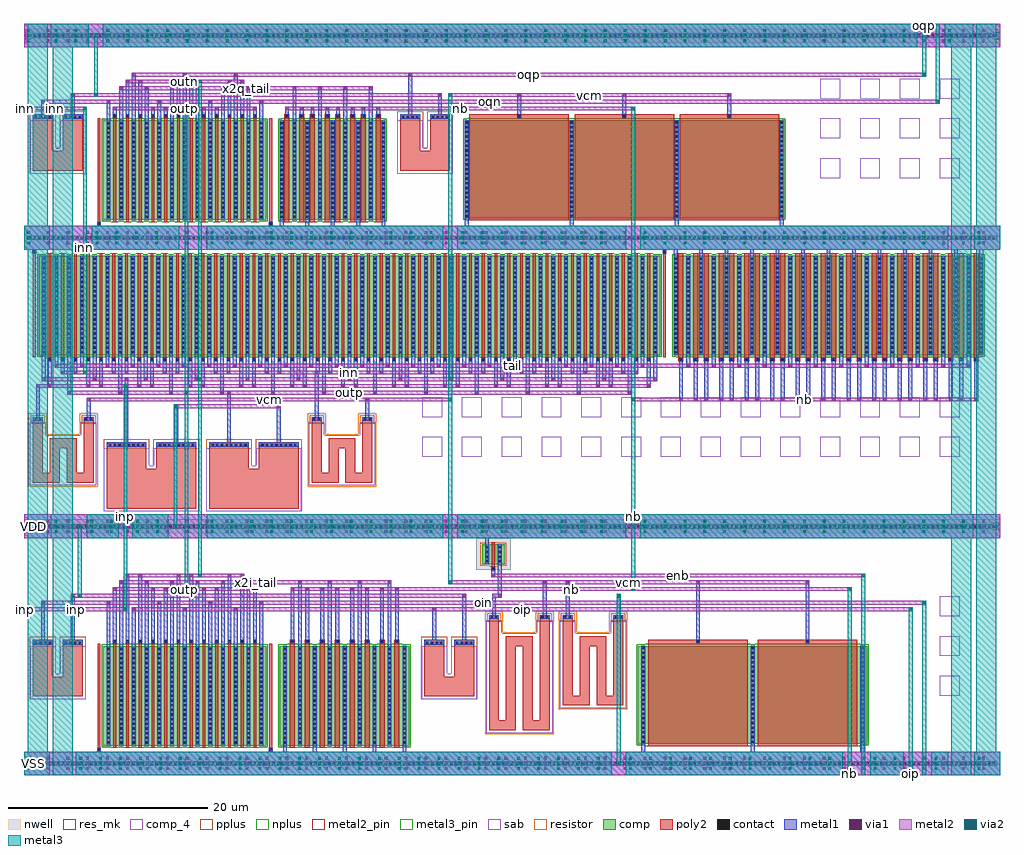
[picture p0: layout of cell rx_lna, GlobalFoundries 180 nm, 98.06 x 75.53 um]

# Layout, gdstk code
import gdstk
lib = gdstk.Library(unit=1e-6, precision=1e-09)
def R(c, l, rs):  # rectangles x0, y0, x1, y1
    for r in rs: c.add(gdstk.rectangle(r[:2], r[2:], *l))
def A(c, l, x, y, w, h, nx, ny, dx, dy):  # array of equal rectangles
    R(c, l, [(x+i*dx, y+j*dy, x+i*dx+w, y+j*dy+h) for i in range(nx) for j in range(ny)])
nwell = (21, 0)
comp = (22, 0)
comp_4 = (22, 4)
poly2 = (30, 0)
pplus = (31, 0)
nplus = (32, 0)
contact = (33, 0)
metal1 = (34, 0)
via1 = (35, 0)
metal2 = (36, 0)
metal2_pin = (36, 10)
via2 = (38, 0)
metal3 = (42, 0)
metal3_pin = (42, 10)
sab = (49, 0)
resistor = (62, 0)
res_mk = (110, 5)

rx_lna = lib.new_cell('rx_lna')
R(rx_lna, nwell, [(45.42,18.285,48.9,21.915), (0.15,21.915,97.91,23.315), (0.15,71.235,97.91,72.635)])
R(rx_lna, comp, [(0.3,-1.39,97.76,-1.01), (7.98,0.6,24.34,10.6), (25.72,0.6,38.72,10.6), (61.72,0.77,84.72,10.6), (46.02,18.815,48.3,20.815), (0.3,22.425,97.76,22.805), (1.48,39.82,63.92,49.82), (65.3,39.82,96.36,49.82), (0.3,51.43,97.76,51.81), (7.98,53.42,24.34,63.42), (25.72,53.42,36.3,63.42), (44.3,53.59,76.32,63.42), (0.3,71.745,97.76,72.125)])
A(rx_lna, comp_4, 92, 5.6, 2, 2, 1, 3, 0, 4)
A(rx_lna, comp_4, 40, 29.6, 2, 2, 14, 2, 4, 4)
A(rx_lna, comp_4, 80, 57.6, 2, 2, 4, 3, 4, 4)
A(rx_lna, poly2, 8.98, 0.37, 0.28, 10.49, 12, 2, 1.28, 52.82)
A(rx_lna, poly2, 26.72, 0.37, 0.5, 10.86, 8, 1, 1.5, 0)
A(rx_lna, poly2, 8.935, 10.86, 0.37, 0.37, 12, 2, 1.28, 52.82)
A(rx_lna, poly2, 2.435, 39.19, 0.37, 0.37, 48, 1, 1.28, 0)
A(rx_lna, poly2, 2.48, 39.56, 0.28, 10.49, 48, 1, 1.28, 0)
A(rx_lna, poly2, 44.75, 53.36, 10, 10.69, 3, 1, 10.56, 0)
R(rx_lna, poly2, [(7.355,0.03,7.725,0.4), (24.595,0.03,24.965,0.4), (7.4,0.4,7.68,10.83), (24.64,0.4,24.92,10.83), (62.72,0.54,72.72,11.23), (73.72,0.54,83.72,11.23), (46.72,2.125,49.42,3.125), (50.12,2.125,52.82,3.125), (46.72,3.125,47.72,13.71), (48.42,3.125,49.42,10.6), (50.12,3.125,51.12,10.6), (51.82,3.125,52.82,13.71), (54.12,4.625,56.82,5.625), (57.52,4.625,60.22,5.625), (0.9,5.53,5.9,7.53), (40.22,5.53,45.22,7.53), (54.12,5.625,55.12,13.71), (55.82,5.625,56.82,10.6), (57.52,5.625,58.52,10.6), (59.22,5.625,60.22,13.71), (0.9,7.53,2.9,11.21), (3.9,7.53,5.9,11.21), (40.22,7.53,42.22,11.21), (43.22,7.53,45.22,11.21), (48.42,10.6,51.12,11.6), (55.82,10.6,58.52,11.6), (46.975,18.185,47.345,18.555), (47.02,18.555,47.3,21.045), (8.3,24.415,17.3,28.415), (18.6,24.415,27.6,28.415), (0.9,27.01,3.6,28.01), (4.3,27.01,7,28.01), (28.9,27.01,31.6,28.01), (32.3,27.01,35,28.01), (0.9,28.01,1.9,33.595), (2.6,28.01,3.6,30.485), (4.3,28.01,5.3,30.485), (6,28.01,7,33.595), (28.9,28.01,29.9,33.595), (30.6,28.01,31.6,30.485), (32.3,28.01,33.3,30.485), (34,28.01,35,33.595), (8.3,28.415,12.3,31.095), (13.3,28.415,17.3,31.095), (18.6,28.415,22.6,31.095), (23.6,28.415,27.6,31.095), (2.6,30.485,5.3,31.485), (30.6,30.485,33.3,31.485), (65.75,39.19,66.25,50.05), (67.25,39.19,67.75,50.05), (68.31,39.19,68.81,50.05), (69.81,39.19,70.31,50.05), (70.87,39.19,71.37,50.05), (72.37,39.19,72.87,50.05), (73.43,39.19,73.93,50.05), (74.93,39.19,75.43,50.05), (75.99,39.19,76.49,50.05), (77.49,39.19,77.99,50.05), (78.55,39.19,79.05,50.05), (80.05,39.19,80.55,50.05), (81.11,39.19,81.61,50.05), (82.61,39.19,83.11,50.05), (83.67,39.19,84.17,50.05), (85.17,39.19,85.67,50.05), (86.23,39.19,86.73,50.05), (87.73,39.19,88.23,50.05), (88.79,39.19,89.29,50.05), (90.29,39.19,90.79,50.05), (91.35,39.19,91.85,50.05), (92.85,39.19,93.35,50.05), (93.91,39.19,94.41,50.05), (95.41,39.19,95.91,50.05), (0.9,39.59,1.18,50.02), (64.22,39.59,64.5,50.02), (0.855,50.02,1.225,50.39), (64.175,50.02,64.545,50.39), (7.355,52.85,7.725,53.22), (24.595,52.85,24.965,53.22), (26.17,53.19,26.67,64.05), (27.67,53.19,28.17,64.05), (28.73,53.19,29.23,64.05), (30.23,53.19,30.73,64.05), (31.29,53.19,31.79,64.05), (32.79,53.19,33.29,64.05), (33.85,53.19,34.35,64.05), (35.35,53.19,35.85,64.05), (7.4,53.22,7.68,63.65), (24.64,53.22,24.92,63.65), (0.9,58.35,5.9,60.35), (37.8,58.35,42.8,60.35), (0.9,60.35,2.9,64.03), (3.9,60.35,5.9,64.03), (37.8,60.35,39.8,64.03), (40.8,60.35,42.8,64.03)])
R(rx_lna, pplus, [(0.28,-1.41,97.78,-0.99), (0.6,5.23,6.2,7.83), (39.92,5.23,45.52,7.83), (0.6,7.83,3.2,11.51), (3.6,7.83,6.2,11.51), (39.92,7.83,42.52,11.51), (42.92,7.83,45.52,11.51), (46.52,13.1,47.92,13.91), (51.62,13.1,53.02,13.91), (53.92,13.1,55.32,13.91), (59.02,13.1,60.42,13.91), (46.79,18.585,47.53,18.655), (45.86,18.655,48.46,20.975), (46.79,20.975,47.53,21.045), (8,24.115,17.6,28.715), (18.3,24.115,27.9,28.715), (8,28.715,12.6,31.395), (13,28.715,17.6,31.395), (18.3,28.715,22.9,31.395), (23.3,28.715,27.9,31.395), (0.7,32.985,2.1,33.795), (5.8,32.985,7.2,33.795), (28.7,32.985,30.1,33.795), (33.8,32.985,35.2,33.795), (0.28,51.41,97.78,51.83), (0.6,58.05,6.2,60.65), (37.5,58.05,43.1,60.65), (0.6,60.65,3.2,64.33), (3.6,60.65,6.2,64.33), (37.5,60.65,40.1,64.33), (40.5,60.65,43.1,64.33)])
A(rx_lna, nplus, 8.75, 0.37, 0.74, 0.07, 12, 2, 1.28, 10.39)
A(rx_lna, nplus, 26.49, 0.37, 0.96, 0.07, 8, 2, 1.5, 10.39)
A(rx_lna, nplus, 2.25, 39.59, 0.74, 0.07, 48, 2, 1.28, 10.39)
A(rx_lna, nplus, 67.02, 39.59, 2.02, 0.07, 11, 2, 2.56, 10.39)
A(rx_lna, nplus, 8.75, 53.19, 0.74, 0.07, 12, 2, 1.28, 10.39)
A(rx_lna, nplus, 27.44, 53.19, 2.02, 0.07, 3, 2, 2.56, 10.39)
R(rx_lna, nplus, [(7.82,0.44,24.5,10.76), (25.56,0.44,38.88,10.76), (62.49,0.54,72.95,0.61), (73.49,0.54,83.95,0.61), (61.56,0.61,84.88,10.76), (62.49,10.76,72.95,10.83), (73.49,10.76,83.95,10.83), (0.14,22.265,0.74,22.405), (97.32,22.265,97.92,22.405), (0.14,22.405,97.92,22.825), (0.14,22.825,0.74,22.965), (97.32,22.825,97.92,22.965), (65.52,39.59,66.48,39.66), (95.18,39.59,96.14,39.66), (1.32,39.66,64.08,49.98), (65.14,39.66,96.52,49.98), (65.52,49.98,66.48,50.05), (95.18,49.98,96.14,50.05), (25.94,53.19,26.9,53.26), (35.12,53.19,36.08,53.26), (7.82,53.26,24.5,63.58), (25.56,53.26,36.46,63.58), (44.52,53.36,76.1,53.43), (44.14,53.43,76.48,63.58), (25.94,63.58,26.9,63.65), (35.12,63.58,36.08,63.65), (44.52,63.58,76.1,63.65), (0.14,71.585,0.74,71.725), (97.32,71.585,97.92,71.725), (0.14,71.725,97.92,72.145), (0.14,72.145,0.74,72.285), (97.32,72.145,97.92,72.285)])
A(rx_lna, contact, 0.51, -1.31, 0.22, 0.22, 207, 2, 0.47, 23.815)
A(rx_lna, contact, 8.37, 0.79, 0.22, 0.22, 13, 21, 1.28, 0.47)
A(rx_lna, contact, 26.11, 0.79, 0.22, 0.22, 9, 21, 1.5, 0.47)
A(rx_lna, contact, 62.11, 0.875, 0.22, 0.22, 3, 21, 11, 0.47)
A(rx_lna, contact, 1.085, 10.82, 0.22, 0.22, 4, 2, 0.47, 52.82)
A(rx_lna, contact, 4.085, 10.82, 0.22, 0.22, 4, 2, 0.47, 52.82)
A(rx_lna, contact, 40.405, 10.82, 0.22, 0.22, 4, 1, 0.47, 0)
A(rx_lna, contact, 43.405, 10.82, 0.22, 0.22, 4, 1, 0.47, 0)
A(rx_lna, contact, 9.01, 10.935, 0.22, 0.22, 12, 2, 1.28, 52.82)
A(rx_lna, contact, 26.86, 10.935, 0.22, 0.22, 8, 1, 1.5, 0)
A(rx_lna, contact, 46.41, 19, 0.22, 0.22, 1, 4, 0, 0.47)
A(rx_lna, contact, 47.69, 19, 0.22, 0.22, 1, 4, 0, 0.47)
A(rx_lna, contact, 8.545, 30.705, 0.22, 0.22, 8, 1, 0.47, 0)
A(rx_lna, contact, 13.545, 30.705, 0.22, 0.22, 8, 1, 0.47, 0)
A(rx_lna, contact, 18.845, 30.705, 0.22, 0.22, 8, 1, 0.47, 0)
A(rx_lna, contact, 23.845, 30.705, 0.22, 0.22, 8, 1, 0.47, 0)
A(rx_lna, contact, 2.51, 39.265, 0.22, 0.22, 48, 1, 1.28, 0)
A(rx_lna, contact, 1.87, 40.01, 0.22, 0.22, 49, 21, 1.28, 0.47)
A(rx_lna, contact, 65.375, 40.01, 0.22, 0.22, 1, 21, 0, 0.47)
A(rx_lna, contact, 66.64, 40.01, 0.22, 0.22, 23, 21, 1.28, 0.47)
A(rx_lna, contact, 96.065, 40.01, 0.22, 0.22, 1, 21, 0, 0.47)
A(rx_lna, contact, 0.51, 51.51, 0.22, 0.22, 207, 2, 0.47, 20.315)
A(rx_lna, contact, 8.37, 53.61, 0.22, 0.22, 13, 21, 1.28, 0.47)
A(rx_lna, contact, 25.795, 53.61, 0.22, 0.22, 1, 21, 0, 0.47)
A(rx_lna, contact, 27.06, 53.61, 0.22, 0.22, 7, 21, 1.28, 0.47)
A(rx_lna, contact, 36.005, 53.61, 0.22, 0.22, 1, 21, 0, 0.47)
A(rx_lna, contact, 44.375, 53.695, 0.22, 0.22, 1, 21, 0, 0.47)
A(rx_lna, contact, 54.92, 53.695, 0.22, 0.22, 1, 21, 0, 0.47)
A(rx_lna, contact, 65.48, 53.695, 0.22, 0.22, 1, 21, 0, 0.47)
A(rx_lna, contact, 76.025, 53.695, 0.22, 0.22, 1, 21, 0, 0.47)
A(rx_lna, contact, 37.985, 63.64, 0.22, 0.22, 4, 1, 0.47, 0)
A(rx_lna, contact, 40.985, 63.64, 0.22, 0.22, 4, 1, 0.47, 0)
A(rx_lna, contact, 49.64, 63.755, 0.22, 0.22, 3, 1, 10.56, 0)
R(rx_lna, contact, [(7.43,0.105,7.65,0.325), (24.67,0.105,24.89,0.325), (67.61,10.935,67.83,11.155), (78.61,10.935,78.83,11.155), (46.875,13.42,47.095,13.64), (47.345,13.42,47.565,13.64), (51.975,13.42,52.195,13.64), (52.445,13.42,52.665,13.64), (54.275,13.42,54.495,13.64), (54.745,13.42,54.965,13.64), (59.375,13.42,59.595,13.64), (59.845,13.42,60.065,13.64), (47.05,18.26,47.27,18.48), (1.055,33.305,1.275,33.525), (1.525,33.305,1.745,33.525), (6.155,33.305,6.375,33.525), (6.625,33.305,6.845,33.525), (29.055,33.305,29.275,33.525), (29.525,33.305,29.745,33.525), (34.155,33.305,34.375,33.525), (34.625,33.305,34.845,33.525), (65.89,39.265,66.11,39.485), (67.39,39.265,67.61,39.485), (68.45,39.265,68.67,39.485), (69.95,39.265,70.17,39.485), (71.01,39.265,71.23,39.485), (72.51,39.265,72.73,39.485), (73.57,39.265,73.79,39.485), (75.07,39.265,75.29,39.485), (76.13,39.265,76.35,39.485), (77.63,39.265,77.85,39.485), (78.69,39.265,78.91,39.485), (80.19,39.265,80.41,39.485), (81.25,39.265,81.47,39.485), (82.75,39.265,82.97,39.485), (83.81,39.265,84.03,39.485), (85.31,39.265,85.53,39.485), (86.37,39.265,86.59,39.485), (87.87,39.265,88.09,39.485), (88.93,39.265,89.15,39.485), (90.43,39.265,90.65,39.485), (91.49,39.265,91.71,39.485), (92.99,39.265,93.21,39.485), (94.05,39.265,94.27,39.485), (95.55,39.265,95.77,39.485), (0.93,50.095,1.15,50.315), (64.25,50.095,64.47,50.315), (7.43,52.925,7.65,53.145), (24.67,52.925,24.89,53.145), (26.31,63.755,26.53,63.975), (27.81,63.755,28.03,63.975), (28.87,63.755,29.09,63.975), (30.37,63.755,30.59,63.975), (31.43,63.755,31.65,63.975), (32.93,63.755,33.15,63.975), (33.99,63.755,34.21,63.975), (35.49,63.755,35.71,63.975)])
A(rx_lna, metal1, 26.03, 0, 0.38, 10.605, 5, 1, 3, 0)
A(rx_lna, metal1, 62.03, 0, 0.38, 10.605, 3, 1, 11, 0)
A(rx_lna, metal1, 8.29, 0.595, 0.38, 14.555, 4, 1, 5.12, 0)
A(rx_lna, metal1, 9.57, 0.595, 0.38, 16.595, 6, 1, 2.56, 0)
A(rx_lna, metal1, 10.85, 0.595, 0.38, 13.875, 3, 1, 5.12, 0)
A(rx_lna, metal1, 27.53, 0.595, 0.38, 16.595, 4, 1, 3, 0)
A(rx_lna, metal1, 26.78, 10.855, 0.38, 5.655, 8, 1, 1.5, 0)
A(rx_lna, metal1, 4.35, 35.85, 0.38, 13.975, 12, 1, 5.12, 0)
A(rx_lna, metal1, 1.79, 37.21, 0.38, 12.615, 13, 1, 5.12, 0)
A(rx_lna, metal1, 3.07, 38.57, 0.38, 11.255, 24, 1, 2.56, 0)
A(rx_lna, metal1, 66.56, 38.57, 0.38, 11.255, 12, 1, 2.56, 0)
A(rx_lna, metal1, 67.84, 39.815, 0.38, 10.605, 11, 1, 2.56, 0)
A(rx_lna, metal1, 28.26, 52.82, 0.38, 10.605, 3, 1, 2.56, 0)
A(rx_lna, metal1, 8.29, 53.415, 0.38, 12.055, 4, 1, 5.12, 0)
A(rx_lna, metal1, 9.57, 53.415, 0.38, 13.415, 6, 1, 2.56, 0)
A(rx_lna, metal1, 10.85, 53.415, 0.38, 14.775, 3, 1, 5.12, 0)
A(rx_lna, metal1, 26.98, 53.415, 0.38, 13.415, 4, 1, 2.56, 0)
A(rx_lna, metal1, 49.56, 63.675, 0.38, 2.475, 3, 1, 10.56, 0)
R(rx_lna, metal1, [(0,-2.4,98.06,0), (7.35,0,7.73,0.4), (24.59,0,24.97,0.4), (0.9,10.75,2.9,11.21), (3.9,10.75,5.9,11.21), (40.22,10.75,42.22,11.21), (43.22,10.75,45.22,11.21), (8.93,10.855,9.31,16.51), (10.21,10.855,10.59,17.87), (11.49,10.855,11.87,17.87), (12.77,10.855,13.15,16.51), (14.05,10.855,14.43,16.51), (15.33,10.855,15.71,17.87), (16.61,10.855,16.99,17.87), (17.89,10.855,18.27,16.51), (19.17,10.855,19.55,16.51), (20.45,10.855,20.83,17.87), (21.73,10.855,22.11,17.87), (23.01,10.855,23.39,16.51), (67.53,10.855,67.91,17.19), (78.53,10.855,78.91,17.19), (1.71,11.21,2.09,15.15), (4.71,11.21,5.09,15.83), (41.03,11.21,41.41,14.47), (44.03,11.21,44.41,15.83), (46.72,13.35,47.72,13.71), (51.82,13.35,52.82,13.71), (54.12,13.35,55.12,13.71), (59.22,13.35,60.22,13.71), (47.03,13.71,47.41,15.45), (52.13,13.71,52.51,17.19), (54.43,13.71,54.81,17.19), (59.53,13.71,59.91,15.83), (47.03,15.45,47.99,15.83), (47.61,15.83,47.99,20.82), (46.97,17.49,47.35,18.56), (46.33,18.81,46.71,21.415), (0,21.415,98.06,23.815), (8.3,30.635,12.3,31.095), (13.3,30.635,17.3,31.095), (18.6,30.635,22.6,31.095), (23.6,30.635,27.6,31.095), (10.11,31.095,10.49,37.59), (15.11,31.095,15.49,34.87), (20.41,31.095,20.79,36.23), (25.41,31.095,25.79,34.87), (0.9,33.235,1.9,33.595), (6,33.235,7,33.595), (28.9,33.235,29.9,33.595), (34,33.235,35,33.595), (1.21,33.595,1.59,36.91), (6.31,33.595,6.69,35.55), (29.21,33.595,29.59,37.89), (34.31,33.595,34.69,35.55), (65.81,35.17,66.19,39.565), (67.31,35.17,67.69,39.565), (68.37,35.17,68.75,39.565), (69.87,35.17,70.25,39.565), (70.93,35.17,71.31,39.565), (72.43,35.17,72.81,39.565), (73.49,35.17,73.87,39.565), (74.99,35.17,75.37,39.565), (76.05,35.17,76.43,39.565), (77.55,35.17,77.93,39.565), (78.61,35.17,78.99,39.565), (80.11,35.17,80.49,39.565), (81.17,35.17,81.55,39.565), (82.67,35.17,83.05,39.565), (83.73,35.17,84.11,39.565), (85.23,35.17,85.61,39.565), (86.29,35.17,86.67,39.565), (87.79,35.17,88.17,39.565), (88.85,35.17,89.23,39.565), (90.35,35.17,90.73,39.565), (91.41,35.17,91.79,39.565), (92.91,35.17,93.29,39.565), (93.97,35.17,94.35,39.565), (95.47,35.17,95.85,39.565), (2.43,36.53,2.81,39.565), (6.27,36.53,6.65,39.565), (7.55,36.53,7.93,39.565), (11.39,36.53,11.77,39.565), (12.67,36.53,13.05,39.565), (16.51,36.53,16.89,39.565), (17.79,36.53,18.17,39.565), (21.63,36.53,22.01,39.565), (22.91,36.53,23.29,39.565), (26.75,36.53,27.13,39.565), (28.03,36.53,28.41,39.565), (31.87,36.53,32.25,39.565), (33.15,36.53,33.53,39.565), (36.99,36.53,37.37,39.565), (38.27,36.53,38.65,39.565), (42.11,36.53,42.49,39.565), (43.39,36.53,43.77,39.565), (47.23,36.53,47.61,39.565), (48.51,36.53,48.89,39.565), (52.35,36.53,52.73,39.565), (53.63,36.53,54.01,39.565), (57.47,36.53,57.85,39.565), (58.75,36.53,59.13,39.565), (62.59,36.53,62.97,39.565), (3.71,37.89,4.09,39.565), (4.99,37.89,5.37,39.565), (8.83,37.89,9.21,39.565), (10.11,37.89,10.49,39.565), (13.95,37.89,14.33,39.565), (15.23,37.89,15.61,39.565), (19.07,37.89,19.45,39.565), (20.35,37.89,20.73,39.565), (24.19,37.89,24.57,39.565), (25.47,37.89,25.85,39.565), (29.21,37.89,29.69,38.27), (30.59,37.89,30.97,39.565), (34.43,37.89,34.81,39.565), (35.71,37.89,36.09,39.565), (39.55,37.89,39.93,39.565), (40.83,37.89,41.21,39.565), (44.67,37.89,45.05,39.565), (45.95,37.89,46.33,39.565), (49.79,37.89,50.17,39.565), (51.07,37.89,51.45,39.565), (54.91,37.89,55.29,39.565), (56.19,37.89,56.57,39.565), (60.03,37.89,60.41,39.565), (61.31,37.89,61.69,39.565), (29.31,38.27,29.69,39.565), (65.295,39.815,65.675,50.42), (95.985,39.815,96.365,50.42), (0.85,50.02,1.23,50.42), (64.17,50.02,64.55,50.42), (0,50.42,98.06,52.82), (7.35,52.82,7.73,53.22), (24.59,52.82,24.97,53.22), (25.715,52.82,26.095,63.425), (35.925,52.82,36.305,63.425), (44.295,52.82,44.675,63.425), (54.84,52.82,55.22,63.425), (65.4,52.82,65.78,63.425), (75.945,52.82,76.325,63.425), (0.9,63.57,2.9,64.03), (3.9,63.57,5.9,64.03), (37.8,63.57,39.8,64.03), (40.8,63.57,42.8,64.03), (8.93,63.675,9.31,64.79), (10.21,63.675,10.59,67.51), (11.49,63.675,11.87,67.51), (12.77,63.675,13.15,64.79), (14.05,63.675,14.43,64.79), (15.33,63.675,15.71,67.51), (16.61,63.675,16.99,67.51), (17.89,63.675,18.27,64.79), (19.17,63.675,19.55,64.79), (20.45,63.675,20.83,67.51), (21.73,63.675,22.11,67.51), (23.01,63.675,23.39,64.79), (26.23,63.675,26.61,64.79), (27.73,63.675,28.11,64.79), (28.79,63.675,29.17,64.79), (30.29,63.675,30.67,64.79), (31.35,63.675,31.73,64.79), (32.85,63.675,33.23,64.79), (33.91,63.675,34.29,64.79), (35.41,63.675,35.79,64.79), (1.71,64.03,2.09,65.47), (4.71,64.03,5.09,66.15), (38.61,64.03,38.99,68.19), (41.61,64.03,41.99,66.15), (0,70.735,98.06,73.135)])
A(rx_lna, via1, 0.27, -1.85, 0.26, 0.26, 49, 3, 2, 0.52)
A(rx_lna, via1, 10.91, 14.15, 0.26, 0.26, 3, 2, 5.12, 53.72)
A(rx_lna, via1, 8.35, 14.83, 0.26, 0.26, 4, 2, 5.12, 50.32)
A(rx_lna, via1, 26.84, 16.19, 0.26, 0.26, 8, 1, 1.5, 0)
A(rx_lna, via1, 9.63, 16.87, 0.26, 0.26, 6, 2, 2.56, 49.64)
A(rx_lna, via1, 27.59, 16.87, 0.26, 0.26, 4, 1, 3, 0)
A(rx_lna, via1, 0.27, 21.965, 0.26, 0.26, 49, 3, 2, 0.52)
A(rx_lna, via1, 4.41, 35.91, 0.26, 0.26, 4, 1, 5.12, 0)
A(rx_lna, via1, 24.89, 35.91, 0.26, 0.26, 8, 1, 5.12, 0)
A(rx_lna, via1, 12.09, 37.27, 0.26, 0.26, 11, 1, 5.12, 0)
A(rx_lna, via1, 3.13, 38.63, 0.26, 0.26, 24, 1, 2.56, 0)
A(rx_lna, via1, 66.62, 38.63, 0.26, 0.26, 12, 1, 2.56, 0)
A(rx_lna, via1, 0.27, 50.97, 0.26, 0.26, 49, 3, 2, 0.52)
A(rx_lna, via1, 49.62, 65.83, 0.26, 0.26, 3, 1, 10.56, 0)
A(rx_lna, via1, 27.04, 66.51, 0.26, 0.26, 4, 1, 2.56, 0)
A(rx_lna, via1, 0.27, 71.285, 0.26, 0.26, 49, 3, 2, 0.52)
R(rx_lna, via1, [(41.09,14.15,41.35,14.41), (1.77,14.83,2.03,15.09), (4.77,15.51,5.03,15.77), (44.09,15.51,44.35,15.77), (47.67,15.51,47.93,15.77), (59.59,15.51,59.85,15.77), (8.99,16.19,9.25,16.45), (12.83,16.19,13.09,16.45), (14.11,16.19,14.37,16.45), (17.95,16.19,18.21,16.45), (19.23,16.19,19.49,16.45), (23.07,16.19,23.33,16.45), (52.19,16.87,52.45,17.13), (54.49,16.87,54.75,17.13), (67.59,16.87,67.85,17.13), (78.59,16.87,78.85,17.13), (10.27,17.55,10.53,17.81), (11.55,17.55,11.81,17.81), (15.39,17.55,15.65,17.81), (16.67,17.55,16.93,17.81), (20.51,17.55,20.77,17.81), (21.79,17.55,22.05,17.81), (47.03,17.55,47.29,17.81), (15.17,34.55,15.43,34.81), (25.47,34.55,25.73,34.81), (6.37,35.23,6.63,35.49), (34.37,35.23,34.63,35.49), (65.87,35.23,66.13,35.49), (67.37,35.23,67.63,35.49), (68.43,35.23,68.69,35.49), (69.93,35.23,70.19,35.49), (70.99,35.23,71.25,35.49), (72.49,35.23,72.75,35.49), (73.55,35.23,73.81,35.49), (75.05,35.23,75.31,35.49), (76.11,35.23,76.37,35.49), (77.61,35.23,77.87,35.49), (78.67,35.23,78.93,35.49), (80.17,35.23,80.43,35.49), (81.23,35.23,81.49,35.49), (82.73,35.23,82.99,35.49), (83.79,35.23,84.05,35.49), (85.29,35.23,85.55,35.49), (86.35,35.23,86.61,35.49), (87.85,35.23,88.11,35.49), (88.91,35.23,89.17,35.49), (90.41,35.23,90.67,35.49), (91.47,35.23,91.73,35.49), (92.97,35.23,93.23,35.49), (94.03,35.23,94.29,35.49), (95.53,35.23,95.79,35.49), (20.47,35.91,20.73,36.17), (1.27,36.59,1.53,36.85), (2.49,36.59,2.75,36.85), (6.33,36.59,6.59,36.85), (7.61,36.59,7.87,36.85), (11.45,36.59,11.71,36.85), (12.73,36.59,12.99,36.85), (16.57,36.59,16.83,36.85), (17.85,36.59,18.11,36.85), (21.69,36.59,21.95,36.85), (22.97,36.59,23.23,36.85), (26.81,36.59,27.07,36.85), (28.09,36.59,28.35,36.85), (31.93,36.59,32.19,36.85), (33.21,36.59,33.47,36.85), (37.05,36.59,37.31,36.85), (38.33,36.59,38.59,36.85), (42.17,36.59,42.43,36.85), (43.45,36.59,43.71,36.85), (47.29,36.59,47.55,36.85), (48.57,36.59,48.83,36.85), (52.41,36.59,52.67,36.85), (53.69,36.59,53.95,36.85), (57.53,36.59,57.79,36.85), (58.81,36.59,59.07,36.85), (62.65,36.59,62.91,36.85), (1.85,37.27,2.11,37.53), (6.97,37.27,7.23,37.53), (10.17,37.27,10.43,37.53), (3.77,37.95,4.03,38.21), (5.05,37.95,5.31,38.21), (8.89,37.95,9.15,38.21), (10.17,37.95,10.43,38.21), (14.01,37.95,14.27,38.21), (15.29,37.95,15.55,38.21), (19.13,37.95,19.39,38.21), (20.41,37.95,20.67,38.21), (24.25,37.95,24.51,38.21), (25.53,37.95,25.79,38.21), (29.27,37.95,29.53,38.21), (30.65,37.95,30.91,38.21), (34.49,37.95,34.75,38.21), (35.77,37.95,36.03,38.21), (39.61,37.95,39.87,38.21), (40.89,37.95,41.15,38.21), (44.73,37.95,44.99,38.21), (46.01,37.95,46.27,38.21), (49.85,37.95,50.11,38.21), (51.13,37.95,51.39,38.21), (54.97,37.95,55.23,38.21), (56.25,37.95,56.51,38.21), (60.09,37.95,60.35,38.21), (61.37,37.95,61.63,38.21), (8.99,64.47,9.25,64.73), (12.83,64.47,13.09,64.73), (14.11,64.47,14.37,64.73), (17.95,64.47,18.21,64.73), (19.23,64.47,19.49,64.73), (23.07,64.47,23.33,64.73), (26.29,64.47,26.55,64.73), (27.79,64.47,28.05,64.73), (28.85,64.47,29.11,64.73), (30.35,64.47,30.61,64.73), (31.41,64.47,31.67,64.73), (32.91,64.47,33.17,64.73), (33.97,64.47,34.23,64.73), (35.47,64.47,35.73,64.73), (1.77,65.15,2.03,65.41), (4.77,65.83,5.03,66.09), (41.67,65.83,41.93,66.09), (10.27,67.19,10.53,67.45), (11.55,67.19,11.81,67.45), (15.39,67.19,15.65,67.45), (16.67,67.19,16.93,67.45), (20.51,67.19,20.77,67.45), (21.79,67.19,22.05,67.45), (38.67,67.87,38.93,68.13)])
R(rx_lna, metal2, [(0,-2.4,98.06,0), (0,14.09,10.39,14.47), (10.85,14.09,89.27,14.47), (1.71,14.77,90.63,15.15), (4.71,15.45,44.41,15.83), (47.03,15.45,47.99,15.83), (59.53,15.45,59.945,15.83), (8.93,16.13,23.39,16.51), (26.78,16.13,83.15,16.51), (9.57,16.81,36.91,17.19), (42.65,16.81,78.91,17.19), (10.21,17.49,22.11,17.87), (46.97,17.49,84.51,17.87), (0,21.415,98.06,23.815), (15.025,34.49,25.79,34.87), (6.31,35.17,43.03,35.55), (61.01,35.17,95.85,35.55), (4.35,35.85,61.05,36.23), (1.21,36.53,62.97,36.91), (1.79,37.21,63.61,37.59), (3.71,37.89,61.69,38.27), (3.07,38.57,95.1,38.95), (0,50.42,98.06,52.82), (0,64.41,6.31,64.79), (8.93,64.41,23.39,64.79), (26.23,64.41,61.39,64.79), (1.71,65.09,91.99,65.47), (4.71,65.77,41.99,66.15), (42.65,65.77,71.06,66.15), (9.57,66.45,35.04,66.83), (10.21,67.13,22.11,67.51), (10.85,67.81,90.63,68.19), (0,70.735,98.06,73.135)])
R(rx_lna, metal2_pin, [(0.95,-1.25,1.05,-1.15), (0.1,14.23,0.2,14.33), (0.95,22.565,1.05,22.665), (0.1,64.55,0.2,64.65)])
A(rx_lna, via2, 0.37, -1.85, 0.26, 0.26, 1, 3, 0, 0.52)
A(rx_lna, via2, 5.57, -1.85, 0.26, 0.26, 27, 3, 2, 0.52)
A(rx_lna, via2, 60.825, -1.85, 0.26, 0.26, 11, 3, 2, 0.52)
A(rx_lna, via2, 85.39, -1.85, 0.26, 0.26, 1, 3, 0, 0.52)
A(rx_lna, via2, 87.39, -1.85, 0.26, 0.26, 1, 3, 0, 0.52)
A(rx_lna, via2, 91.51, -1.85, 0.26, 0.26, 1, 3, 0, 0.52)
A(rx_lna, via2, 95.83, -1.85, 0.26, 0.26, 1, 3, 0, 0.52)
A(rx_lna, via2, 3.07, 21.965, 0.26, 0.26, 1, 3, 0, 0.52)
A(rx_lna, via2, 6.68, 21.965, 0.26, 0.26, 1, 3, 0, 0.52)
A(rx_lna, via2, 8.68, 21.965, 0.26, 0.26, 1, 3, 0, 0.52)
A(rx_lna, via2, 11.27, 21.965, 0.26, 0.26, 1, 3, 0, 0.52)
A(rx_lna, via2, 13.27, 21.965, 0.26, 0.26, 1, 3, 0, 0.52)
A(rx_lna, via2, 18.75, 21.965, 0.26, 0.26, 12, 3, 2, 0.52)
A(rx_lna, via2, 43.91, 21.965, 0.26, 0.26, 8, 3, 2, 0.52)
A(rx_lna, via2, 62.27, 21.965, 0.26, 0.26, 17, 3, 2, 0.52)
A(rx_lna, via2, 0.37, 50.97, 0.26, 0.26, 1, 3, 0, 0.52)
A(rx_lna, via2, 7.19, 50.97, 0.26, 0.26, 4, 3, 2, 0.52)
A(rx_lna, via2, 18.75, 50.97, 0.26, 0.26, 12, 3, 2, 0.52)
A(rx_lna, via2, 43.91, 50.97, 0.26, 0.26, 8, 3, 2, 0.52)
A(rx_lna, via2, 62.27, 50.97, 0.26, 0.26, 15, 3, 2, 0.52)
A(rx_lna, via2, 95.83, 50.97, 0.26, 0.26, 1, 3, 0, 0.52)
A(rx_lna, via2, 3.07, 71.285, 0.26, 0.26, 1, 3, 0, 0.52)
A(rx_lna, via2, 5.07, 71.285, 0.26, 0.26, 1, 3, 0, 0.52)
A(rx_lna, via2, 8.295, 71.285, 0.26, 0.26, 41, 3, 2, 0.52)
A(rx_lna, via2, 92.87, 71.285, 0.26, 0.26, 1, 3, 0, 0.52)
R(rx_lna, via2, [(59.625,-1.33,59.885,-1.07), (10.07,14.15,10.33,14.41), (88.95,14.15,89.21,14.41), (90.31,14.83,90.57,15.09), (5.48,15.51,5.74,15.77), (59.625,15.51,59.885,15.77), (16.19,16.19,16.45,16.45), (61.07,16.19,61.33,16.45), (82.83,16.19,83.09,16.45), (42.71,16.87,42.97,17.13), (17.55,17.55,17.81,17.81), (84.19,17.55,84.45,17.81), (5.48,22.485,5.74,22.745), (15.085,22.485,15.345,22.745), (15.085,34.55,15.345,34.81), (42.71,35.23,42.97,35.49), (61.07,35.23,61.33,35.49), (16.19,35.91,16.45,36.17), (10.07,36.59,10.33,36.85), (17.55,37.27,17.81,37.53), (5.99,37.95,6.25,38.21), (5.99,64.47,6.25,64.73), (16.19,64.47,16.45,64.73), (61.07,64.47,61.33,64.73), (91.67,65.15,91.93,65.41), (7.095,65.83,7.355,66.09), (42.71,65.83,42.97,66.09), (17.55,67.19,17.81,67.45), (90.31,67.87,90.57,68.13), (7.095,71.805,7.355,72.065)])
R(rx_lna, metal3, [(0,-2.4,2.6,0), (2.9,-2.4,4.9,21.415), (5.2,-2.4,59.055,0), (60.455,-2.4,82.26,0), (82.77,-2.4,83.15,16.51), (84.13,-2.4,84.51,17.87), (85.02,-2.4,88.38,0), (88.89,-2.4,89.27,14.47), (90.25,-2.4,90.63,15.15), (91.14,-2.4,92.86,0), (93.16,-2.4,95.16,21.415), (95.46,-2.4,98.06,0), (59.565,-1.39,59.945,15.83), (0.4,0,2.4,50.42), (95.66,0,97.66,50.42), (10.01,14.09,10.39,36.91), (5.42,15.45,5.8,22.805), (16.13,16.13,16.51,64.79), (61.01,16.13,61.39,64.79), (42.65,16.81,43.03,66.15), (17.49,17.49,17.87,67.51), (2.7,21.415,4.91,23.815), (6.31,21.415,9.5,23.815), (10.9,21.415,14.515,23.815), (18.38,21.415,42.14,23.815), (43.54,21.415,60.5,23.815), (61.9,21.415,95.36,23.815), (15.025,22.425,15.405,34.87), (2.9,23.815,4.9,70.735), (93.16,23.815,95.16,70.735), (5.93,37.89,6.31,64.79), (0,50.42,2.6,52.82), (6.82,50.42,15.62,52.82), (18.38,50.42,42.14,52.82), (43.54,50.42,60.5,52.82), (61.9,50.42,92.86,52.82), (95.46,50.42,98.06,52.82), (0.4,52.82,2.4,73.135), (95.66,52.82,97.66,73.135), (91.61,65.09,91.99,73.135), (7.035,65.77,7.415,72.125), (90.25,67.81,90.63,73.135), (2.7,70.735,6.525,73.135), (7.925,70.735,89.74,73.135), (92.5,70.735,95.36,73.135)])
R(rx_lna, metal3_pin, [(82.91,-2.25,83.01,-2.15), (84.27,-2.25,84.37,-2.15), (89.03,-2.25,89.13,-2.15), (90.39,-2.25,90.49,-2.15), (90.39,72.885,90.49,72.985), (91.75,72.885,91.85,72.985)])
R(rx_lna, sab, [(46.44,1.845,49.7,3.405), (46.44,1.845,53.1,11.88), (49.84,1.845,53.1,3.405), (46.44,3.405,48,13.2), (48.14,3.405,49.7,10.32), (49.84,3.405,51.4,10.32), (51.54,3.405,53.1,13.2), (53.84,4.345,57.1,5.905), (53.84,4.345,60.5,11.88), (57.24,4.345,60.5,5.905), (0.62,5.25,6.18,7.81), (39.94,5.25,45.5,7.81), (53.84,5.905,55.4,13.2), (55.54,5.905,57.1,10.32), (57.24,5.905,58.8,10.32), (58.94,5.905,60.5,13.2), (0.62,7.81,3.18,10.6), (3.62,7.81,6.18,10.6), (39.94,7.81,42.5,10.6), (42.94,7.81,45.5,10.6), (48.14,10.32,51.4,11.88), (55.54,10.32,58.8,11.88), (46.44,11.88,48,13.1), (51.54,11.88,53.1,13.1), (53.84,11.88,55.4,13.1), (58.94,11.88,60.5,13.1), (8.02,24.135,17.58,28.695), (18.32,24.135,27.88,28.695), (0.62,26.73,3.88,28.29), (0.62,26.73,7.28,31.765), (4.02,26.73,7.28,28.29), (28.62,26.73,31.88,28.29), (28.62,26.73,35.28,31.765), (32.02,26.73,35.28,28.29), (0.62,28.29,2.18,33.085), (2.32,28.29,3.88,30.205), (4.02,28.29,5.58,30.205), (5.72,28.29,7.28,33.085), (28.62,28.29,30.18,33.085), (30.32,28.29,31.88,30.205), (32.02,28.29,33.58,30.205), (33.72,28.29,35.28,33.085), (8.02,28.695,12.58,30.485), (13.02,28.695,17.58,30.485), (18.32,28.695,22.88,30.485), (23.32,28.695,27.88,30.485), (2.32,30.205,5.58,31.765), (30.32,30.205,33.58,31.765), (0.62,31.765,2.18,32.985), (5.72,31.765,7.28,32.985), (28.62,31.765,30.18,32.985), (33.72,31.765,35.28,32.985), (0.62,58.07,6.18,60.63), (37.52,58.07,43.08,60.63), (0.62,60.63,3.18,63.42), (3.62,60.63,6.18,63.42), (37.52,60.63,40.08,63.42), (40.52,60.63,43.08,63.42)])
R(rx_lna, resistor, [(46.32,1.725,53.22,12), (53.72,4.225,60.62,12), (46.32,12,48.12,14.11), (51.42,12,53.22,14.11), (53.72,12,55.52,14.11), (58.82,12,60.62,14.11), (0.5,26.61,7.4,31.885), (28.5,26.61,35.4,31.885), (0.5,31.885,2.3,33.995), (5.6,31.885,7.4,33.995), (28.5,31.885,30.3,33.995), (33.6,31.885,35.4,33.995)])
R(rx_lna, res_mk, [(46.44,1.845,53.1,11.88), (46.72,2.125,49.42,3.125), (50.12,2.125,52.82,3.125), (46.72,3.125,47.72,13.1), (48.42,3.125,49.42,10.6), (50.12,3.125,51.12,10.6), (51.82,3.125,52.82,13.1), (53.84,4.345,60.5,11.88), (54.12,4.625,56.82,5.625), (57.52,4.625,60.22,5.625), (0.9,5.53,5.9,7.53), (40.22,5.53,45.22,7.53), (54.12,5.625,55.12,13.1), (55.82,5.625,56.82,10.6), (57.52,5.625,58.52,10.6), (59.22,5.625,60.22,13.1), (0.9,7.53,2.9,10.6), (3.9,7.53,5.9,10.6), (40.22,7.53,42.22,10.6), (43.22,7.53,45.22,10.6), (48.42,10.6,51.12,11.6), (55.82,10.6,58.52,11.6), (46.44,11.88,48,13.1), (51.54,11.88,53.1,13.1), (53.84,11.88,55.4,13.1), (58.94,11.88,60.5,13.1), (8.3,24.415,17.3,28.415), (18.6,24.415,27.6,28.415), (0.62,26.73,7.28,31.765), (28.62,26.73,35.28,31.765), (0.9,27.01,3.6,28.01), (4.3,27.01,7,28.01), (28.9,27.01,31.6,28.01), (32.3,27.01,35,28.01), (0.9,28.01,1.9,32.985), (2.6,28.01,3.6,30.485), (4.3,28.01,5.3,30.485), (6,28.01,7,32.985), (28.9,28.01,29.9,32.985), (30.6,28.01,31.6,30.485), (32.3,28.01,33.3,30.485), (34,28.01,35,32.985), (8.3,28.415,12.3,30.485), (13.3,28.415,17.3,30.485), (18.6,28.415,22.6,30.485), (23.6,28.415,27.6,30.485), (2.6,30.485,5.3,31.485), (30.6,30.485,33.3,31.485), (0.62,31.765,2.18,32.985), (5.72,31.765,7.28,32.985), (28.62,31.765,30.18,32.985), (33.72,31.765,35.28,32.985), (0.9,58.35,5.9,60.35), (37.8,58.35,42.8,60.35), (0.9,60.35,2.9,63.42), (3.9,60.35,5.9,63.42), (37.8,60.35,39.8,63.42), (40.8,60.35,42.8,63.42)])
rx_lna.add(gdstk.Label('inp', (5.25,14.28), layer=36, texttype=0))
rx_lna.add(gdstk.Label('oin', (46.17,14.96), layer=36, texttype=0))
rx_lna.add(gdstk.Label('outp', (16.16,16.32), layer=36, texttype=0))
rx_lna.add(gdstk.Label('x2i_tail', (23.24,17), layer=36, texttype=0))
rx_lna.add(gdstk.Label('outn', (16.16,17.68), layer=36, texttype=0))
rx_lna.add(gdstk.Label('oip', (50.06,14.28), layer=36, texttype=0))
rx_lna.add(gdstk.Label('nb', (54.965,16.32), layer=36, texttype=0))
rx_lna.add(gdstk.Label('vcm', (60.78,17), layer=36, texttype=0))
rx_lna.add(gdstk.Label('vt', (47.51,15.64), layer=36, texttype=0))
rx_lna.add(gdstk.Label('enb', (65.74,17.68), layer=36, texttype=0))
rx_lna.add(gdstk.Label('tail', (49.085,38.76), layer=36, texttype=0))
rx_lna.add(gdstk.Label('inn', (32.7,38.08), layer=36, texttype=0))
rx_lna.add(gdstk.Label('outn', (32.7,37.4), layer=36, texttype=0))
rx_lna.add(gdstk.Label('inp', (32.09,36.72), layer=36, texttype=0))
rx_lna.add(gdstk.Label('outp', (32.7,36.04), layer=36, texttype=0))
rx_lna.add(gdstk.Label('vcm', (24.67,35.36), layer=36, texttype=0))
rx_lna.add(gdstk.Label('nb', (78.43,35.36), layer=36, texttype=0))
rx_lna.add(gdstk.Label('inn', (3.21,64.6), layer=36, texttype=0))
rx_lna.add(gdstk.Label('oqn', (46.85,65.28), layer=36, texttype=0))
rx_lna.add(gdstk.Label('outp', (16.16,64.6), layer=36, texttype=0))
rx_lna.add(gdstk.Label('x2q_tail', (22.305,66.64), layer=36, texttype=0))
rx_lna.add(gdstk.Label('outn', (16.16,67.32), layer=36, texttype=0))
rx_lna.add(gdstk.Label('oqp', (50.74,68), layer=36, texttype=0))
rx_lna.add(gdstk.Label('nb', (43.81,64.6), layer=36, texttype=0))
rx_lna.add(gdstk.Label('vcm', (56.855,65.96), layer=36, texttype=0))
rx_lna.add(gdstk.Label('nb', (61.2,23.615), layer=42, texttype=0))
rx_lna.add(gdstk.Label('inp', (10.2,23.615), layer=42, texttype=0))
rx_lna.add(gdstk.Label('inn', (6.12,50.62), layer=42, texttype=0))
rx_lna.add(gdstk.Label('nb', (82.96,-2.2), layer=42, texttype=10))
rx_lna.add(gdstk.Label('enb', (84.32,-2.2), layer=42, texttype=10))
rx_lna.add(gdstk.Label('oip', (89.08,-2.2), layer=42, texttype=10))
rx_lna.add(gdstk.Label('oin', (90.44,-2.2), layer=42, texttype=10))
rx_lna.add(gdstk.Label('oqp', (90.44,72.935), layer=42, texttype=10))
rx_lna.add(gdstk.Label('oqn', (91.8,72.935), layer=42, texttype=10))
rx_lna.add(gdstk.Label('inp', (0.15,14.28), layer=36, texttype=10))
rx_lna.add(gdstk.Label('inn', (0.15,64.6), layer=36, texttype=10))
rx_lna.add(gdstk.Label('VSS', (1,-1.2), layer=36, texttype=10))
rx_lna.add(gdstk.Label('VDD', (1,22.615), layer=36, texttype=10))

lib.write_gds('rx_lna.gds')
